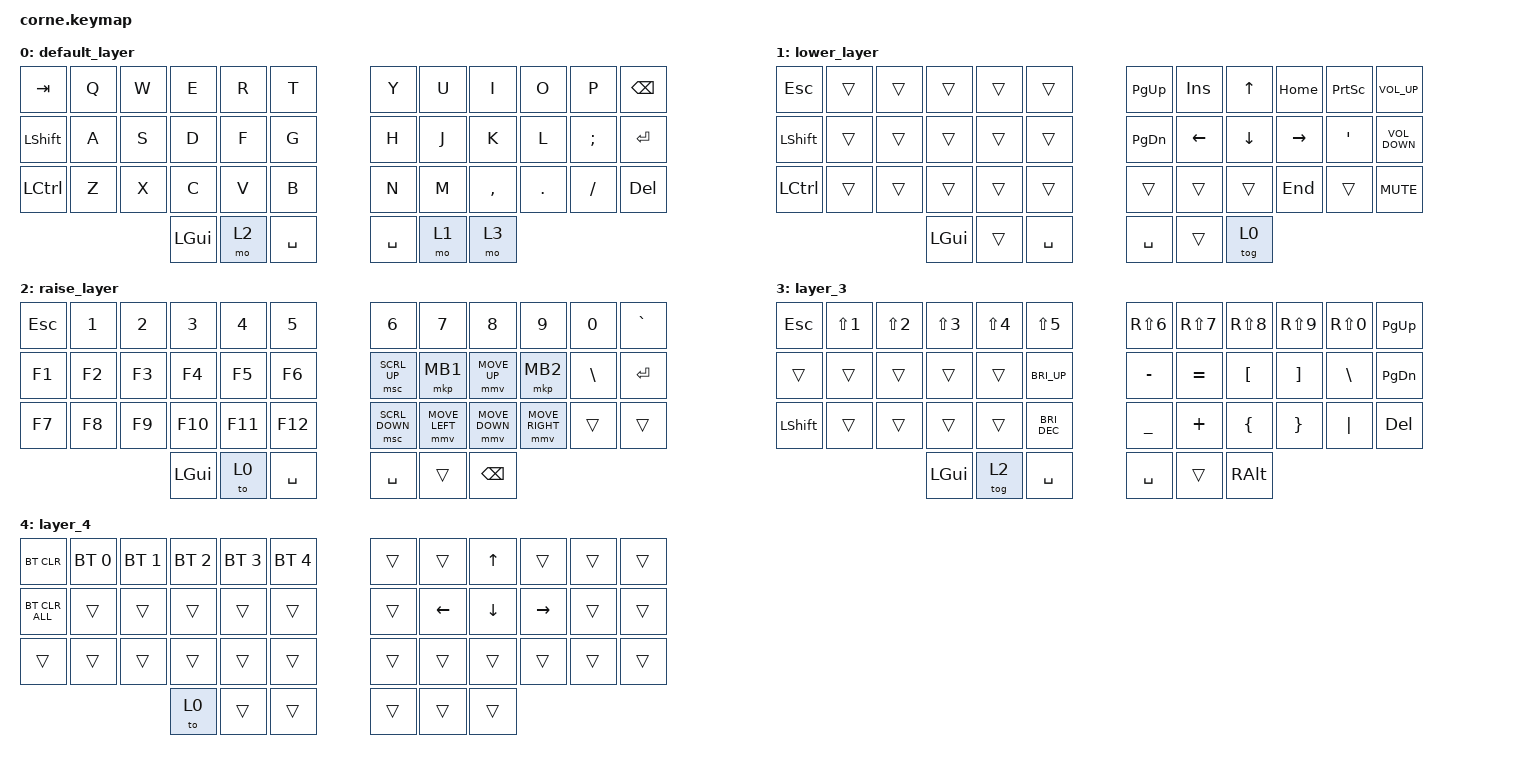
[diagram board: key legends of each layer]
/*
 * Copyright (c) 2020 The ZMK Contributors
 *
 * SPDX-License-Identifier: MIT
 */

#include <behaviors.dtsi>
#include <dt-bindings/zmk/bt.h>
#include <dt-bindings/zmk/keys.h>
#include <dt-bindings/zmk/pointing.h>

/ {
    keymap {
        compatible = "zmk,keymap";

        default_layer {
            // -----------------------------------------------------------------------------------------
            // |  TAB |  Q  |  W  |  E  |  R  |  T  |   |  Y  |  U   |  I  |  O  |  P  | BSPC |
            // | CTRL |  A  |  S  |  D  |  F  |  G  |   |  H  |  J   |  K  |  L  |  ;  |  '   |
            // | SHFT |  Z  |  X  |  C  |  V  |  B  |   |  N  |  M   |  ,  |  .  |  /  | ESC  |
            //                    | GUI | LWR | SPC |   | ENT | RSE  | ALT |

            bindings = <
&kp TAB    &kp Q  &kp W  &kp E     &kp R  &kp T        &kp Y      &kp U  &kp I      &kp O    &kp P     &kp BSPC
&kp LSHFT  &kp A  &kp S  &kp D     &kp F  &kp G        &kp H      &kp J  &kp K      &kp L    &kp SEMI  &kp ENTER
&kp LCTRL  &kp Z  &kp X  &kp C     &kp V  &kp B        &kp N      &kp M  &kp COMMA  &kp DOT  &kp FSLH  &kp DEL
                         &kp LGUI  &mo 2  &kp SPACE    &kp SPACE  &mo 1  &mo 3
            >;
        };

        lower_layer {
            // -----------------------------------------------------------------------------------------
            // |  TAB |  1  |  2  |  3  |  4  |  5  |   |  6  |  7  |  8  |  9  |  0  | BSPC |
            // | BTCLR| BT1 | BT2 | BT3 | BT4 | BT5 |   | LFT | DWN |  UP | RGT |     |      |
            // | SHFT |     |     |     |     |     |   |     |     |     |     |     |      |
            //                    | GUI |     | SPC |   | ENT |     | ALT |

            bindings = <
&kp ESC    &trans  &trans  &trans    &trans  &trans       &kp PAGE_UP    &kp INSERT      &kp UP_ARROW    &kp HOME   &kp PRINTSCREEN   &kp C_VOLUME_UP
&kp LSHFT  &trans  &trans  &trans    &trans  &trans       &kp PAGE_DOWN  &kp LEFT_ARROW  &kp DOWN_ARROW  &kp RIGHT  &kp SINGLE_QUOTE  &kp C_VOLUME_DOWN
&kp LCTRL  &trans  &trans  &trans    &trans  &trans       &trans         &trans          &trans          &kp END    &trans            &kp K_MUTE
                           &kp LGUI  &trans  &kp SPACE    &kp SPACE      &trans          &tog 0
            >;
        };

        raise_layer {
            // -----------------------------------------------------------------------------------------
            // |  TAB |  !  |  @  |  #  |  $  |  %  |   |  ^  |  &  |  *  |  (  |  )  | BSPC |
            // | CTRL |     |     |     |     |     |   |  -  |  =  |  [  |  ]  |  \  |  `   |
            // | SHFT |     |     |     |     |     |   |  _  |  +  |  {  |  }  | "|" |  ~   |
            //                    | GUI |     | SPC |   | ENT |     | ALT |

            bindings = <
&kp ESCAPE  &kp NUMBER_1  &kp NUMBER_2  &kp NUMBER_3  &kp NUMBER_4  &kp N5       &kp NUMBER_6    &kp N7          &kp NUMBER_8    &kp NUMBER_9     &kp NUMBER_0  &kp GRAVE
&kp F1      &kp F2        &kp F3        &kp F4        &kp F5        &kp F6       &msc SCRL_UP    &mkp MB1        &mmv MOVE_UP    &mkp MB2         &kp BSLH      &kp ENTER
&kp F7      &kp F8        &kp F9        &kp F10       &kp F11       &kp F12      &msc SCRL_DOWN  &mmv MOVE_LEFT  &mmv MOVE_DOWN  &mmv MOVE_RIGHT  &trans        &trans
                                        &kp LGUI      &to 0         &kp SPACE    &kp SPACE       &trans          &kp BACKSPACE
            >;
        };

        layer_3 {
            bindings = <
&kp ESC    &kp LS(N1)  &kp LS(NUMBER_2)  &kp LS(N3)    &kp LS(N4)  &kp LS(NUMBER_5)    &kp RS(NUMBER_6)  &kp RS(NUMBER_7)  &kp RS(NUMBER_8)  &kp RS(N9)         &kp RS(N0)     &kp PAGE_UP
&trans     &trans      &trans            &trans        &trans      &kp C_BRI_UP        &kp MINUS         &kp EQUAL         &kp LEFT_BRACKET  &kp RIGHT_BRACKET  &kp BACKSLASH  &kp PAGE_DOWN
&kp LSHFT  &trans      &trans            &trans        &trans      &kp C_BRI_DEC       &kp UNDERSCORE    &kp PLUS          &kp LBRC          &kp RBRC           &kp PIPE       &kp DEL
                                         &kp LEFT_GUI  &tog 2      &kp SPACE           &kp SPACE         &trans            &kp RALT
            >;
        };

        layer_4 {
            bindings = <
&bt BT_CLR      &bt BT_SEL 0  &bt BT_SEL 1  &bt BT_SEL 2  &bt BT_SEL 3  &bt BT_SEL 4    &trans  &trans          &kp UP_ARROW    &trans           &trans  &trans
&bt BT_CLR_ALL  &trans        &trans        &trans        &trans        &trans          &trans  &kp LEFT_ARROW  &kp DOWN_ARROW  &kp RIGHT_ARROW  &trans  &trans
&trans          &trans        &trans        &trans        &trans        &trans          &trans  &trans          &trans          &trans           &trans  &trans
                                            &to 0         &trans        &trans          &trans  &trans          &trans
            >;
        };
    };
};
